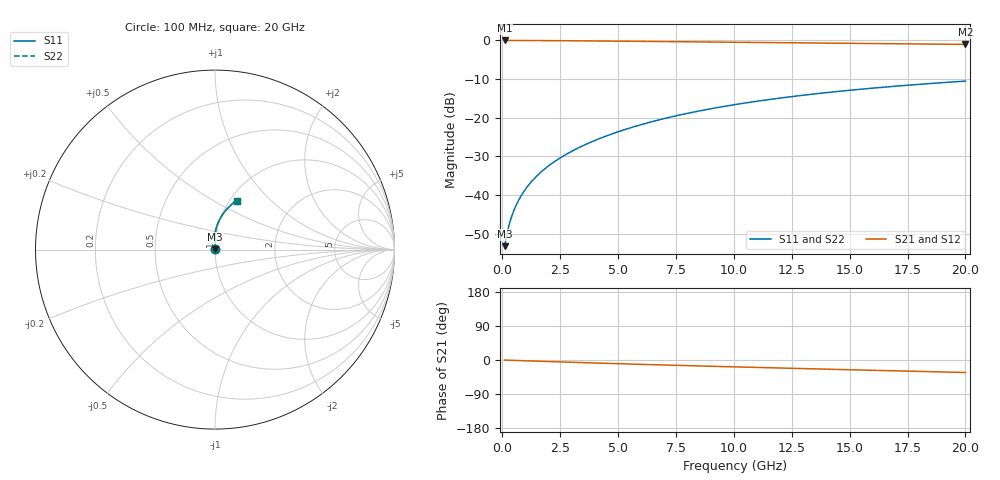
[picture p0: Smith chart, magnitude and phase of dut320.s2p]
! Touchstone file exported from HFSS 2024.1.0
!  File:  C:/UserFiles/LocalFiles/RDL_TSV_Batchsim/temp_RDL_bottom_320_1779611017.aedt
!  Generated:  04:26:00 PM May 24, 2026
!  Design:  RDL_bottom
!  Project:  temp_RDL_bottom_320_1779611017
!  Setup:  Setup1
!  Solution:  Sweep
! Variables:
!  dtsv = 10.80580581um
!  hbump = 3um
!  htsv = 52.75um
!  ldown = 467.19um
!  lrdl = 100um
!  p = 40
!  p1 = 55.78um
!  rhole = 1um
!  t = 450um
!  tdown = 3.94um
!  trdl = 3.915915916um
!  wdown = 28.01um
!  wrdl = 20um
# GHz S MA R 50.000000
! Terminal data exported
! Port[1] = RDL1_T1
! Port[2] = RDL1_T2
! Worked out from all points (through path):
!   200 points, 100 MHz to 20 GHz, reference 50 ohm
!   highest |S21| = -0.02 dB at 100 MHz (marker M1); lowest = -1.0 dB at 20 GHz (marker M2)
!   group delay of S21, straight-line fit = 4.5 ps
!   lowest |S11| = -53.2 dB at 100 MHz (marker M3), VSWR 1.00, Z = 50.2 + j0.133 ohm
!   |S11| at or under -10 dB: start of sweep to end of sweep
!   |S22| runs from -53.2 to -10.5 dB; largest |S21 - S12| = 4.1e-15
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0.1  0.002181 37.6  0.9983 -0.2  0.9983 -0.2  0.002181 37.6
! Gamma 0 0 0 0
! Port Impedance 50 0 50 0
0.2  0.003156 54.2  0.9981 -0.4  0.9981 -0.4  0.003156 54.2
0.3  0.004191 62.5  0.9979 -0.6  0.9979 -0.6  0.004191 62.5
0.4  0.005242 67.9  0.9978 -0.8  0.9978 -0.8  0.005242 67.9
0.5  0.00631 71.6  0.9976 -1.0  0.9976 -1.0  0.00631 71.6
0.6  0.007397 74.5  0.9975 -1.2  0.9975 -1.2  0.007397 74.5
0.8  0.009618 78.5  0.9972 -1.7  0.9972 -1.7  0.009618 78.5
1.1  0.01304 82.3  0.9966 -2.3  0.9966 -2.3  0.01304 82.3
1.5  0.01775 85.4  0.9955 -3.1  0.9955 -3.1  0.01775 85.4
2.1  0.0251 88.1  0.9935 -4.3  0.9935 -4.3  0.0251 88.1
2.7  0.03282 89.6  0.9909 -5.5  0.9909 -5.5  0.03282 89.6
3.5  0.0437 90.7  0.9869 -7.0  0.9869 -7.0  0.0437 90.7
4.2  0.05375 91.0  0.9829 -8.3  0.9829 -8.3  0.05376 91.0
5  0.06578 90.8  0.978 -9.8  0.978 -9.8  0.06579 90.8
5.9  0.07984 90.1  0.9723 -11.3  0.9723 -11.3  0.07986 90.1
6.8  0.09432 89.1  0.9666 -12.9  0.9666 -12.9  0.09434 89.1
8.4  0.1206 86.6  0.9565 -15.5  0.9565 -15.5  0.1206 86.6
10.1  0.1487 83.7  0.946 -18.2  0.946 -18.2  0.1487 83.7
11.7  0.1747 80.7  0.9364 -20.7  0.9364 -20.7  0.1748 80.7
13.4  0.2018 77.6  0.9264 -23.3  0.9264 -23.3  0.2018 77.6
16.7  0.2517 71.7  0.9069 -28.2  0.9069 -28.2  0.2517 71.7
20  0.2976 66.2  0.8874 -33.0  0.8874 -33.0  0.2976 66.2
